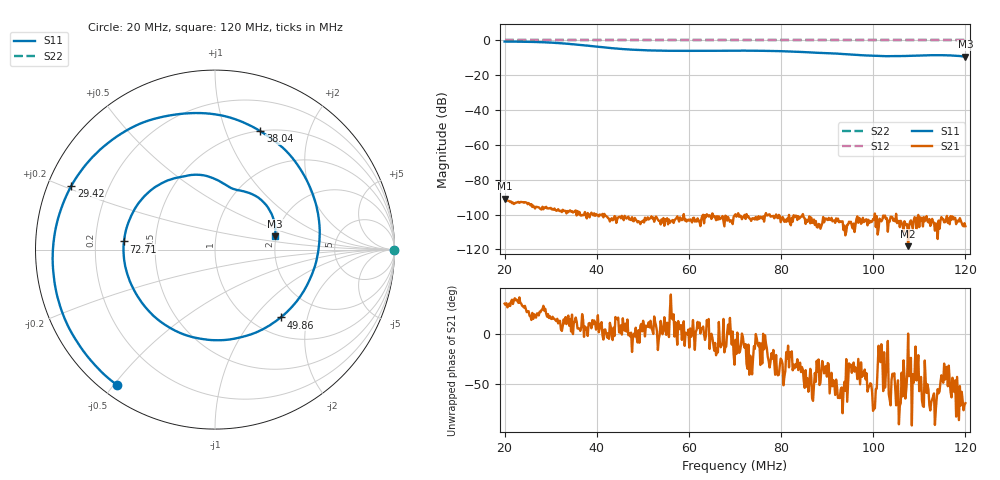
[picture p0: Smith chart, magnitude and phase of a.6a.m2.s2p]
! Anritsu VNA Master:  Model: MS2036C/10/77
! SN:  1601066
! /bd0/18may07/256.ew.m2.s2p
! Existing Calibration Information:
! TYPE:  Current Settings,  Active Cal Settings
! TIME:  05/07/2018 11:52:44 AM,  05/07/2018 11:47:21 AM
! INTERNAL TEMP:  52.5 C,  52.0 C
! # POINTS:  500,  500
! START FREQ:  20.000 MHz,  20.000 MHz
! STOP FREQ:  120.000 MHz,  120.000 MHz
! SOURCE POWER:  High,  High
! IFBW:  50 Hz,  50 Hz
! AVG FACTOR:  1 ,  1
! REF PLANE 1:  0 mm,  0 mm
! REF PLANE 2:  0 mm,  0 mm
! CAL TYPE:  Full S11,  Full S11
! CAL METHOD:  SOLT,  SOLT
! CAL LINE TYPE:  Coax,  Coax
! DUT PORT 1:  K-Conn(F),  K-Conn(F)
! DUT PORT 2:  K-Conn(F),  K-Conn(F)
! CAL STATUS:  OK: Accuracy High,  --
# GHZ S DB R 50.0
! FREQ.GHZ  S11DB  S11A  S21DB  S21A  S12DB  S12A  S22DB  S22A
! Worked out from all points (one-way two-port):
!   500 points, 20 MHz to 120 MHz, reference 50 ohm
!   highest |S21| = -90.91 dB at 20 MHz (marker M1); lowest = -118.1 dB at 107.6 MHz (marker M2)
!   lowest |S11| = -9.3 dB at 120 MHz (marker M3), VSWR 2.04, Z = 98.3 + j16.6 ohm
!   |S11| at or under -10 dB: nowhere
!   |S22| runs from 0.0 to 0.0 dB; largest |S21 - S12| = 1
!   S11 on the Smith chart (normalised r, x): 20 MHz: 0.05, -0.51; 29.42 MHz: 0.07, +0.21; 38.04 MHz: 0.50, +1.33; 49.86 MHz: 1.33, -1.39; 72.71 MHz: 0.33, +0.04; 120 MHz: 1.97, +0.33
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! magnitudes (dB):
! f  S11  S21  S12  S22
! 20 MHz  -0.6  -90.9  0.0  0.0
! 24.81 MHz  -0.8  -93.1  0.0  0.0
! 29.42 MHz  -1.2  -96.4  0.0  0.0
! 33.03 MHz  -1.8  -97.8  0.0  0.0
! 36.83 MHz  -2.7  -100.1  0.0  0.0
! 38.04 MHz  -3.0  -99.1  0.0  0.0
! 44.65 MHz  -4.8  -101.6  0.0  0.0
! 49.86 MHz  -5.6  -104.1  0.0  0.0
! 53.47 MHz  -5.9  -103.5  0.0  0.0
! 60.28 MHz  -6.0  -102.7  0.0  0.0
! 70.1 MHz  -5.9  -99.8  0.0  0.0
! 72.71 MHz  -5.9  -101.4  0.0  0.0
! 80.12 MHz  -6.2  -102.8  0.0  0.0
! 86.73 MHz  -6.9  -104.8  0.0  0.0
! 91.54 MHz  -7.5  -103.4  0.0  0.0
! 98.36 MHz  -8.6  -102.8  0.0  0.0
! 103.4 MHz  -9.0  -103.5  0.0  0.0
! 107.6 MHz  -8.9  -118.1  0.0  0.0
! 112.2 MHz  -8.5  -102.5  0.0  0.0
! 114.8 MHz  -8.5  -101.4  0.0  0.0
! 117.6 MHz  -8.7  -101.8  0.0  0.0
! 120 MHz  -9.3  -106.7  0.0  0.0
